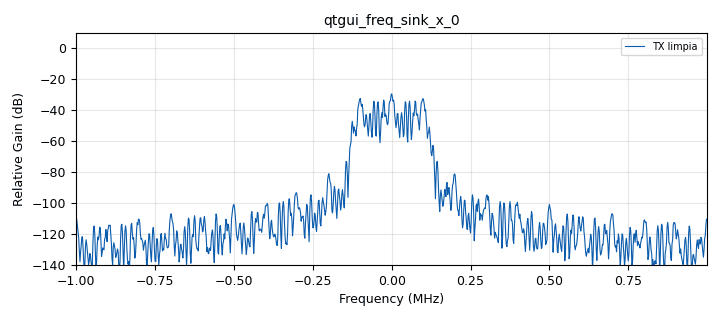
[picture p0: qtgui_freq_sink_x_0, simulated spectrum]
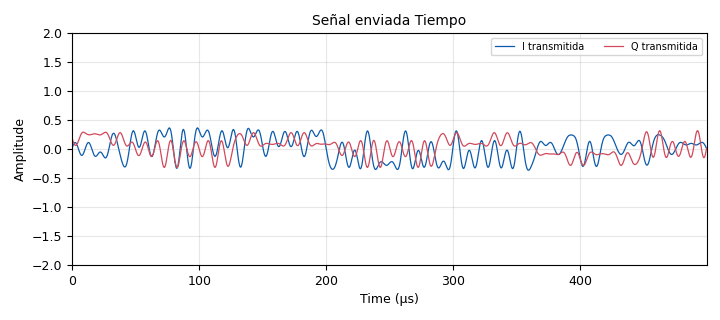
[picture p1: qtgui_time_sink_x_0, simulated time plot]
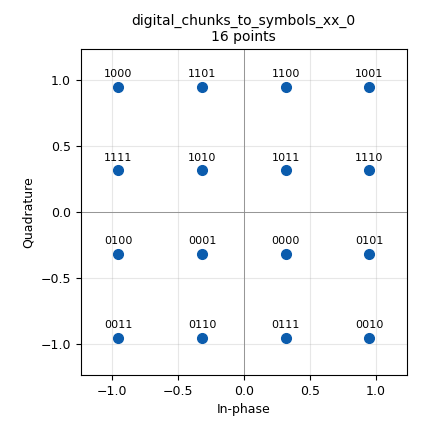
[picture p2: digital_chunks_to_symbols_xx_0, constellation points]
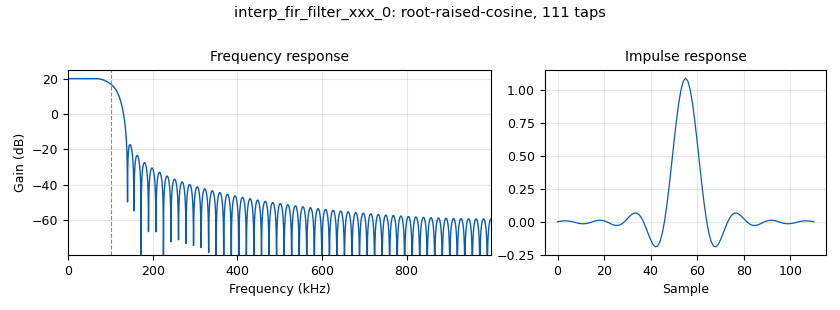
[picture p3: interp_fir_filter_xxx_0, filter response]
options:
  parameters:
    author: Luis
    generate_options: qt_gui
    id: mqam_etapa1
    output_language: python
    title: Not titled yet
  states: {}

blocks:
- name: M
  id: variable
  parameters:
    value: '16'
  states: {}
- name: VGA
  id: variable_qtgui_range
  parameters:
    label: Ajuste VGA
    start: '5'
    step: '1'
    stop: '47'
    value: '10'
  states: {}
- name: ber_window
  id: variable
  parameters:
    value: '10000'
  states: {}
- name: bits_per_symbol
  id: variable
  parameters:
    value: int(math.log2(M))
  states: {}
- name: freq
  id: variable
  parameters:
    value: 433e6
  states: {}
- name: noise_voltage
  id: variable
  parameters:
    value: 10**(-snr_db/20.0)
  states: {}
- name: qam_const
  id: variable_constellation
  parameters:
    precision: '8'
    type: 16qam
  states: {}
- name: rolloff
  id: variable
  parameters:
    value: '0.35'
  states: {}
- name: rrc_taps
  id: variable
  parameters:
    value: |-
      firdes.root_raised_cosine(
          sps,
          samp_rate,
          symbol_rate,
          rolloff,
          11*sps
      )
  states: {}
- name: samp_rate
  id: variable
  parameters:
    value: 2e6
  states: {}
- name: sample_phase
  id: variable_qtgui_range
  parameters:
    label: Fase de muestreo
    start: '0'
    step: '1'
    stop: '9'
    value: '2'
  states: {}
- name: snr_db
  id: variable_qtgui_range
  parameters:
    label: SNR aproximada [dB]
    start: '0'
    step: '1'
    stop: '40'
    value: '40'
  states: {}
- name: sps
  id: variable
  parameters:
    value: int(samp_rate / symbol_rate)
  states: {}
- name: symbol_rate
  id: variable
  parameters:
    value: 2e5
  states: {}
- name: ted_gain
  id: variable_qtgui_range
  parameters:
    label: Ganancia esperada TED
    start: '0.01'
    step: '0.01'
    stop: '1.0'
    value: '1'
  states: {}
- name: tx_amp
  id: variable_qtgui_range
  parameters:
    label: Ganancia TXAMP
    start: '0.01'
    step: '0.01'
    stop: '3'
    value: '0.27'
  states: {}
- name: tx_amp
  id: variable
  parameters:
    value: '0.05'
  states: {state: disabled}
- name: tx_delay
  id: variable_qtgui_range
  parameters:
    label: Alineación TX-RX
    start: '0'
    step: '1'
    stop: '200'
    value: '5'
  states: {}
- name: analog_random_source_x_0
  id: analog_random_source_x
  parameters:
    max: '255'
    min: '0'
    num_samps: '1000'
    repeat: 'True'
    type: byte
  states: {state: disabled}
- name: blocks_complex_to_float_0
  id: blocks_complex_to_float
  parameters:
    comment: TX
  states: {}
- name: blocks_multiply_const_vxx_0
  id: blocks_multiply_const_vxx
  parameters:
    const: tx_amp
    type: complex
  states: {}
- name: blocks_repack_bits_bb_0
  id: blocks_repack_bits_bb
  parameters:
    comment: Repack TX
    endianness: gr.GR_MSB_FIRST
    k: '8'
    l: bits_per_symbol
  states: {}
- name: blocks_throttle2_0
  id: blocks_throttle2
  parameters:
    samples_per_second: samp_rate
    type: complex
  states: {state: disabled}
- name: blocks_vector_source_x_0
  id: blocks_vector_source_x
  parameters:
    repeat: 'True'
    type: byte
    vector: list(range(256))
  states: {}
- name: digital_chunks_to_symbols_xx_0
  id: digital_chunks_to_symbols_xx
  parameters:
    dimension: '1'
    in_type: byte
    out_type: complex
    symbol_table: qam_const.points()
  states: {}
- name: import_0
  id: import
  parameters:
    imports: import math
  states: {}
- name: import_0_0
  id: import
  parameters:
    imports: from gnuradio.filter import firdes
  states: {}
- name: import_1
  id: import
  parameters:
    imports: from gnuradio import digital
  states: {}
- name: interp_fir_filter_xxx_0
  id: interp_fir_filter_xxx
  parameters:
    interp: sps
    taps: rrc_taps
    type: ccc
  states: {}
- name: network_udp_source_0
  id: network_udp_source
  parameters:
    header: '0'
    ipv6: 'False'
    notify_missed: 'False'
    payloadsize: '1316'
    port: '6000'
    src_zeros: 'False'
    type: byte
  states: {state: disabled}
- name: qtgui_const_sink_x_0
  id: qtgui_const_sink_x
  parameters:
    grid: 'True'
    name: '"Constellation TX ideal"'
    size: '1024'
    type: complex
    xmax: '1.5'
    xmin: '-1.5'
    ymax: '1.5'
    ymin: '-1.5'
  states: {state: disabled}
- name: qtgui_const_sink_x_1
  id: qtgui_const_sink_x
  parameters:
    grid: 'True'
    label1: RX sin sincronizar
    name: '"Señal recibida sobremuestreada"'
    size: '1024'
    type: complex
    xmax: '1.5'
    xmin: '-1.5'
    ymax: '1.5'
    ymin: '-1.5'
  states: {state: disabled}
- name: qtgui_freq_sink_x_0
  id: qtgui_freq_sink_x
  parameters:
    average: '0.1'
    bw: samp_rate
    fc: '0'
    fftsize: '1024'
    grid: 'True'
    label1: TX limpia
    type: complex
  states: {}
- name: qtgui_time_sink_x_0
  id: qtgui_time_sink_x
  parameters:
    label1: I transmitida
    label2: Q transmitida
    name: '"Señal enviada Tiempo"'
    nconnections: '2'
    size: '1000'
    srate: samp_rate
    type: float
    ymax: '2'
    ymin: '-2'
  states: {}
- name: soapy_hackrf_sink_0
  id: soapy_hackrf_sink
  parameters:
    center_freq: freq
    dev_args: driver=hackrf
    samp_rate: samp_rate
    type: fc32
    vga: VGA
  states: {}
- name: zeromq_push_sink_0
  id: zeromq_push_sink
  parameters:
    address: tcp://127.0.0.1:5555
    timeout: '100'
    type: complex
  states: {state: disabled}

connections:
- [analog_random_source_x_0, '0', blocks_repack_bits_bb_0, '0']
- [blocks_complex_to_float_0, '0', qtgui_time_sink_x_0, '0']
- [blocks_complex_to_float_0, '1', qtgui_time_sink_x_0, '1']
- [blocks_multiply_const_vxx_0, '0', blocks_complex_to_float_0, '0']
- [blocks_multiply_const_vxx_0, '0', qtgui_freq_sink_x_0, '0']
- [blocks_multiply_const_vxx_0, '0', soapy_hackrf_sink_0, '0']
- [blocks_repack_bits_bb_0, '0', digital_chunks_to_symbols_xx_0, '0']
- [blocks_throttle2_0, '0', blocks_complex_to_float_0, '0']
- [blocks_throttle2_0, '0', qtgui_const_sink_x_1, '0']
- [blocks_throttle2_0, '0', zeromq_push_sink_0, '0']
- [blocks_vector_source_x_0, '0', blocks_repack_bits_bb_0, '0']
- [digital_chunks_to_symbols_xx_0, '0', interp_fir_filter_xxx_0, '0']
- [digital_chunks_to_symbols_xx_0, '0', qtgui_const_sink_x_0, '0']
- [interp_fir_filter_xxx_0, '0', blocks_multiply_const_vxx_0, '0']
- [interp_fir_filter_xxx_0, '0', blocks_throttle2_0, '0']
- [network_udp_source_0, '0', blocks_repack_bits_bb_0, '0']

metadata:
  file_format: 1
  grc_version: 3.10.12.0
